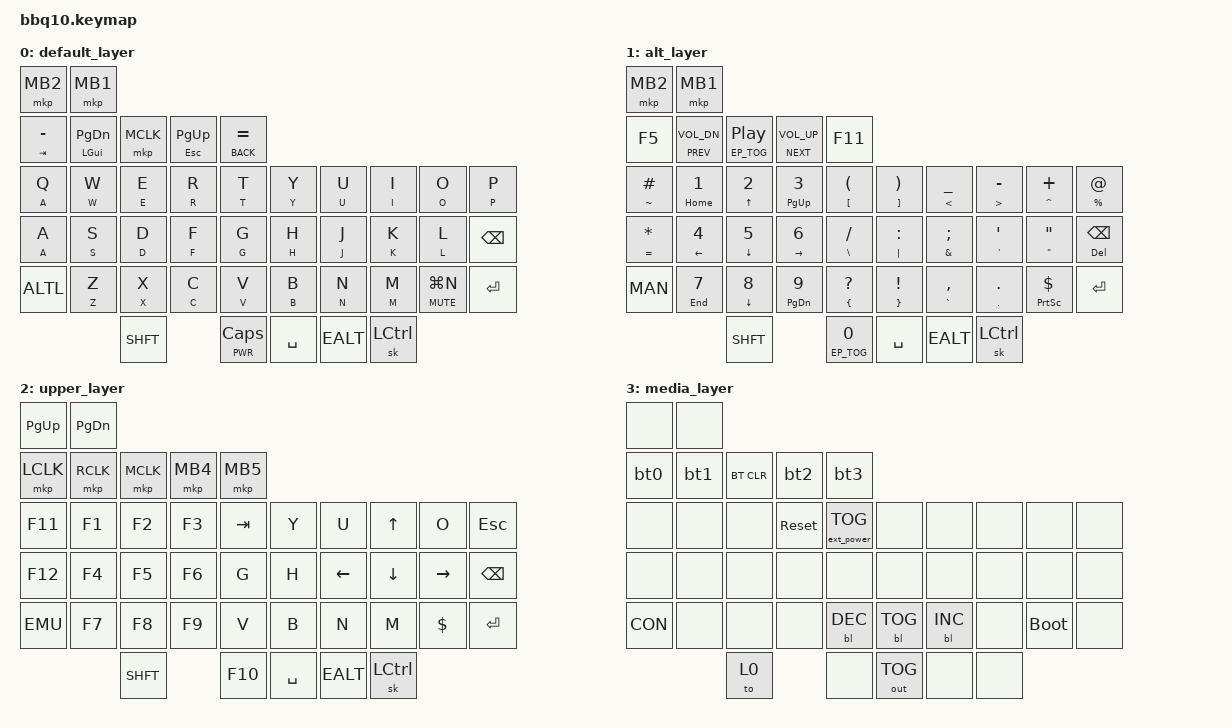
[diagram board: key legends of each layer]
 /*
 * Copyright (c) 2023 ZitaoTech
 * "BlueBerry" Android Layout by Drexel Macintosh    
 * SPDX-License-Identifier: MIT 
 */
#include <behaviors.dtsi>
#include <dt-bindings/zmk/keys.h>
#include <dt-bindings/zmk/bt.h>
#include <dt-bindings/zmk/outputs.h>
#include <dt-bindings/zmk/mouse.h>
#include <dt-bindings/zmk/backlight.h>
#include <dt-bindings/zmk/ext_power.h>
 
#define ALT 1
#define UPPER 2
#define MEDIA 3

// Standard Behavior Configurations:

&mt {
    flavor = "tap-preferred";
    tapping-term-ms = <200>;
    };

&sk{
    release-after-ms = <2500>;
    };

&sl {
    release-after-ms = <2500>;
    };

/ {

//Behaviors Start Here:

    behaviors {

// Tap Dance Behaviors

        td0: tap_dance_0 {
            compatible = "zmk,behavior-tap-dance";
            #binding-cells = <0>;
            tapping-term-ms = <300>;
            bindings = <&mkp LCLK>, <&bt BT_CLR>;
        };

        ALTL: tap_dance_1 {
            compatible = "zmk,behavior-tap-dance";
            #binding-cells = <0>;
            tapping-term-ms = <300>;
            bindings = <&sl ALT>, <&to ALT>;
        };

        SHFT: tap_dance_2 {
            compatible = "zmk,behavior-tap-dance";
            #binding-cells = <0>;
            tapping-term-ms = <300>;
            bindings = <&sk LSHFT>, <&kp CLCK>;
        };

        MED: tap_dance_3 {
            compatible = "zmk,behavior-tap-dance";
            #binding-cells = <0>;
            tapping-term-ms = <250>;
            bindings = <&to 0>, <&to MEDIA>;
        };

        MAN: tap_dance_4 {
            compatible = "zmk,behavior-tap-dance";
            #binding-cells = <0>;
            tapping-term-ms = <250>;
            bindings = <&to 0>, <&to UPPER>;
        };

        EALT: tap_dance_5 {
            compatible = "zmk,behavior-tap-dance";
            #binding-cells = <0>;
            tapping-term-ms = <300>;
            bindings = <&sk LALT>, <&kp LALT>;
        };

        ECTRL: tap_dance_6 {
            compatible = "zmk,behavior-tap-dance";
            #binding-cells = <0>;
            tapping-term-ms = <300>;
            bindings = <&sk LCTRL>, <&kp LC(SPACE)>;
        };

        EMU: tap_dance_7 {
            compatible = "zmk,behavior-tap-dance";
            #binding-cells = <0>;
            tapping-term-ms = <250>;
            bindings = <&to 0>, <&to MEDIA>;
        };

        CON: tap_dance_8 {
            compatible = "zmk,behavior-tap-dance";
            #binding-cells = <0>;
            tapping-term-ms = <250>;
            bindings = <&to 0>, <&to 0>;
        };

// Macro Behaviors

	tap: tap {
		compatible = "zmk,behavior-macro-one-param";
     		#binding-cells = <1>;
      		bindings = <&macro_param_1to1 &kp MACRO_PLACEHOLDER>;
   	 	};

	glo: globe_pseudo_mod {
           	compatible = "zmk,behavior-macro-one-param";
            	#binding-cells = <1>;
           	 bindings
                	= <&macro_press &kp GLOBE>
                	, <&macro_param_1to1>
                	, <&macro_tap &kp MACRO_PLACEHOLDER>
                	, <&macro_release &kp GLOBE>;
        	};

        bt0: bt0 {
            compatible = "zmk,behavior-macro";
            #binding-cells = <0>;
            bindings = <&bt BT_SEL 0 &bt BT_DISC 1 &bt BT_DISC 2 &bt BT_DISC 3 &bt BT_DISC 4>;
            label = "BT0";
        };

        bt1: bt1 {
            compatible = "zmk,behavior-macro";
            #binding-cells = <0>;
            bindings = <&bt BT_SEL 1 &bt BT_DISC 0 &bt BT_DISC 2 &bt BT_DISC 3 &bt BT_DISC 4>;
            label = "BT1";
        };

        bt2: bt2 {
            compatible = "zmk,behavior-macro";
            #binding-cells = <0>;
            bindings = <&bt BT_SEL 2 &bt BT_DISC 0 &bt BT_DISC 1 &bt BT_DISC 3 &bt BT_DISC 4>;
            label = "BT2";
        };

        bt3: bt3 {
            compatible = "zmk,behavior-macro";
            #binding-cells = <0>;
            bindings = <&bt BT_SEL 3 &bt BT_DISC 0 &bt BT_DISC 1 &bt BT_DISC 2 &bt BT_DISC 4>;
            label = "BT3";
        };

// Hold Tap Behaviors

	KPM: behavior_KPM {
            compatible = "zmk,behavior-hold-tap";
            label = "KPM";
            #binding-cells = <2>;
            flavor = "tap-preferred";
            tapping-term-ms = <400>;
            bindings = <&msc>, <&kp>;
        };

        hm: homerow_mods {
            compatible = "zmk,behavior-hold-tap";
            #binding-cells = <2>;
            tapping-term-ms = <500>;
            bindings = <&out &kp>;
        };

        hm2: homerow_mods_2 {
            compatible = "zmk,behavior-hold-tap";
            #binding-cells = <2>;
            tapping-term-ms = <500>;
            bindings = <&ext_power &kp>;
        };

  	mtt: mod_tap_tap {
		compatible = "zmk,behavior-hold-tap";
		#binding-cells = <2>;
	     	flavor = "tap-preferred";
	      	tapping-term-ms = <200>;
	      	quick-tap-ms = <125>;
	      	require-prior-idle-ms = <125>;
	      	bindings = <&tap>, <&tap>;
   	 };

	msk: mod_Stick_Pre {
	      compatible = "zmk,behavior-hold-tap";
	      #binding-cells = <2>;
	      flavor = "tap-preferred";
	      tapping-term-ms = <200>;
	      quick-tap-ms = <125>;
	      require-prior-idle-ms = <125>;
	      bindings = <&sk>, <&kp>;
   	 };

	alt_to: behavior_alt_to {
            compatible = "zmk,behavior-hold-tap";
            label = "alt_to";
            #binding-cells = <2>;
            flavor = "tap-preferred";
            tapping-term-ms = <300>;
            bindings = <&kp>, <&to>;
        };

	glb: mod_tap_glo {
	      compatible = "zmk,behavior-hold-tap";
	      #binding-cells = <2>;
	      flavor = "tap-preferred";
	      tapping-term-ms = <200>;
	      quick-tap-ms = <125>;
	      require-prior-idle-ms = <125>;
	      bindings = <&kp>, <&glo>;
	};

        mou: mod_mouse {
            compatible = "zmk,behavior-hold-tap";
            #binding-cells = <2>;
            flavor = "tap-preferred";
            tapping-term-ms = <200>;
            quick-tap-ms = <125>;
            require-prior-idle-ms = <125>;
            bindings = <&mkp >, <&mkp >;
        };

//End Behvaiors here
    };

    keymap {
        compatible = "zmk,keymap";
        default_layer {
            bindings = <

        /*
         *    KEYBOARD LAYOUT - ASCII by KyleBing
         *
                              ---------------------                                                                -------------------------
                             |    Shoulder Key1    |                                                              |      Shoulder Key2      |
                 ---------------------------------------------------------------------------------------------------------------------------------------------------
                |        Call key        |   Blackberry Key    |              Trackpad            |             Back Key           |          Endcall Key           |
                -----------------------------------------------------------------------------------------------------------------------------------------------------
                |     Q      |     W     |     E    |     R    |         T       |       Y        |        U       |       I       |        O        |      P       |
                -----------------------------------------------------------------------------------------------------------------------------------------------------
                |     A      |     S     |     D    |     F    |         G       |       H        |        J       |       K       |        L        |      ←       |
                -----------------------------------------------------------------------------------------------------------------------------------------------------
                 \    alt    |     Z     |     X    |     C    |         V       |       B        |        N       |       M       |        $        |    Enter    /
                   -----------------------------------------------------------------------------------------------------------------------------------------------
                              \      aA        |       0        |                    SPACE                  |          SYM          |         aA    /
                                -------------------------------------------------------------------------------------------------------------------
        */
&mkp MB2        &mkp MB1
&mtt TAB MINUS  &msk LGUI PAGE_DOWN  &mkp MCLK  &mtt ESC PAGE_UP  &mtt K_BACK EQUAL
&mtt A Q        &mtt W W             &mtt E E   &mtt R R          &mtt T T           &mtt Y Y     &mtt U U  &mtt I I   &mtt O O           &mtt P P
&mtt A A        &mtt S S             &mtt D D   &mtt F F          &mtt G G           &mtt H H     &mtt J J  &mtt K K   &mtt L L           &kp BSPC
&ALTL           &mtt Z Z             &mtt X X   &mtt C C          &mtt V V           &mtt B B     &mtt N N  &mtt M M   &mtt C_MUTE LG(N)  &kp ENTER
                                     &SHFT                        &mtt K_PWR CAPS    &kp SPACE    &EALT     &sk LCTRL
            >;
        };

        alt_layer {
            bindings = <
&mkp MB2         &mkp MB1
&kp F5           &mtt C_PREV C_VOL_DN  &hm2 EP_TOG C_PP  &mtt C_NEXT C_VOL_UP  &kp F11
&mtt TILDE HASH  &mtt HOME N1          &mtt UP N2        &mtt PG_UP N3         &mtt LBKT LPAR   &mtt RBKT RPAR     &mtt LT UNDER     &mtt GT MINUS   &mtt CARET PLUS  &mtt PERCENT AT
&mtt EQUAL STAR  &mtt LEFT N4          &mtt DOWN N5      &mtt RIGHT N6         &mtt BSLH SLASH  &mtt PIPE COLON    &mtt AMPS SEMI    &mtt APOS APOS  &mtt DQT DQT     &mtt DEL BSPC
&MAN             &mtt END N7           &mtt DOWN N8      &mtt PG_DN N9         &mtt LBRC QMARK  &mtt RBRC EXCL     &mtt GRAVE COMMA  &mtt DOT DOT    &mtt PSCRN DLLR  &kp ENTER
                                       &SHFT                                   &hm2 EP_TOG N0   &kp SPACE          &EALT             &sk LCTRL
            >;
        };

        upper_layer {
            bindings = <
&kp PG_UP  &kp PAGE_DOWN
&mkp LCLK  &mkp RCLK      &mkp MCLK  &mkp MB4  &mkp MB5
&kp F11    &kp F1         &kp F2     &kp F3    &kp TAB   &kp Y        &kp U     &kp UP_ARROW    &kp O      &kp ESCAPE
&kp F12    &kp F4         &kp F5     &kp F6    &kp G     &kp H        &kp LEFT  &kp DOWN_ARROW  &kp RIGHT  &kp BSPC
&EMU       &kp F7         &kp F8     &kp F9    &kp V     &kp B        &kp N     &kp M           &kp DLLR   &kp ENTER
                          &SHFT                &kp F10   &kp SPACE    &EALT     &sk LCTRL
            >;
        };

        media_layer {
            bindings = <
&none  &none
&bt0   &bt1   &bt BT_CLR  &bt2        &bt3
&none  &none  &none       &sys_reset  &ext_power EP_TOG  &none           &none       &none  &none        &none
&none  &none  &none       &none       &none              &none           &none       &none  &none        &none
&CON   &none  &none       &none       &bl BL_DEC         &bl BL_TOG      &bl BL_INC  &none  &bootloader  &none
              &to 0                   &none              &out OUT_TOG    &none       &none
            >;
        };
    };
};
